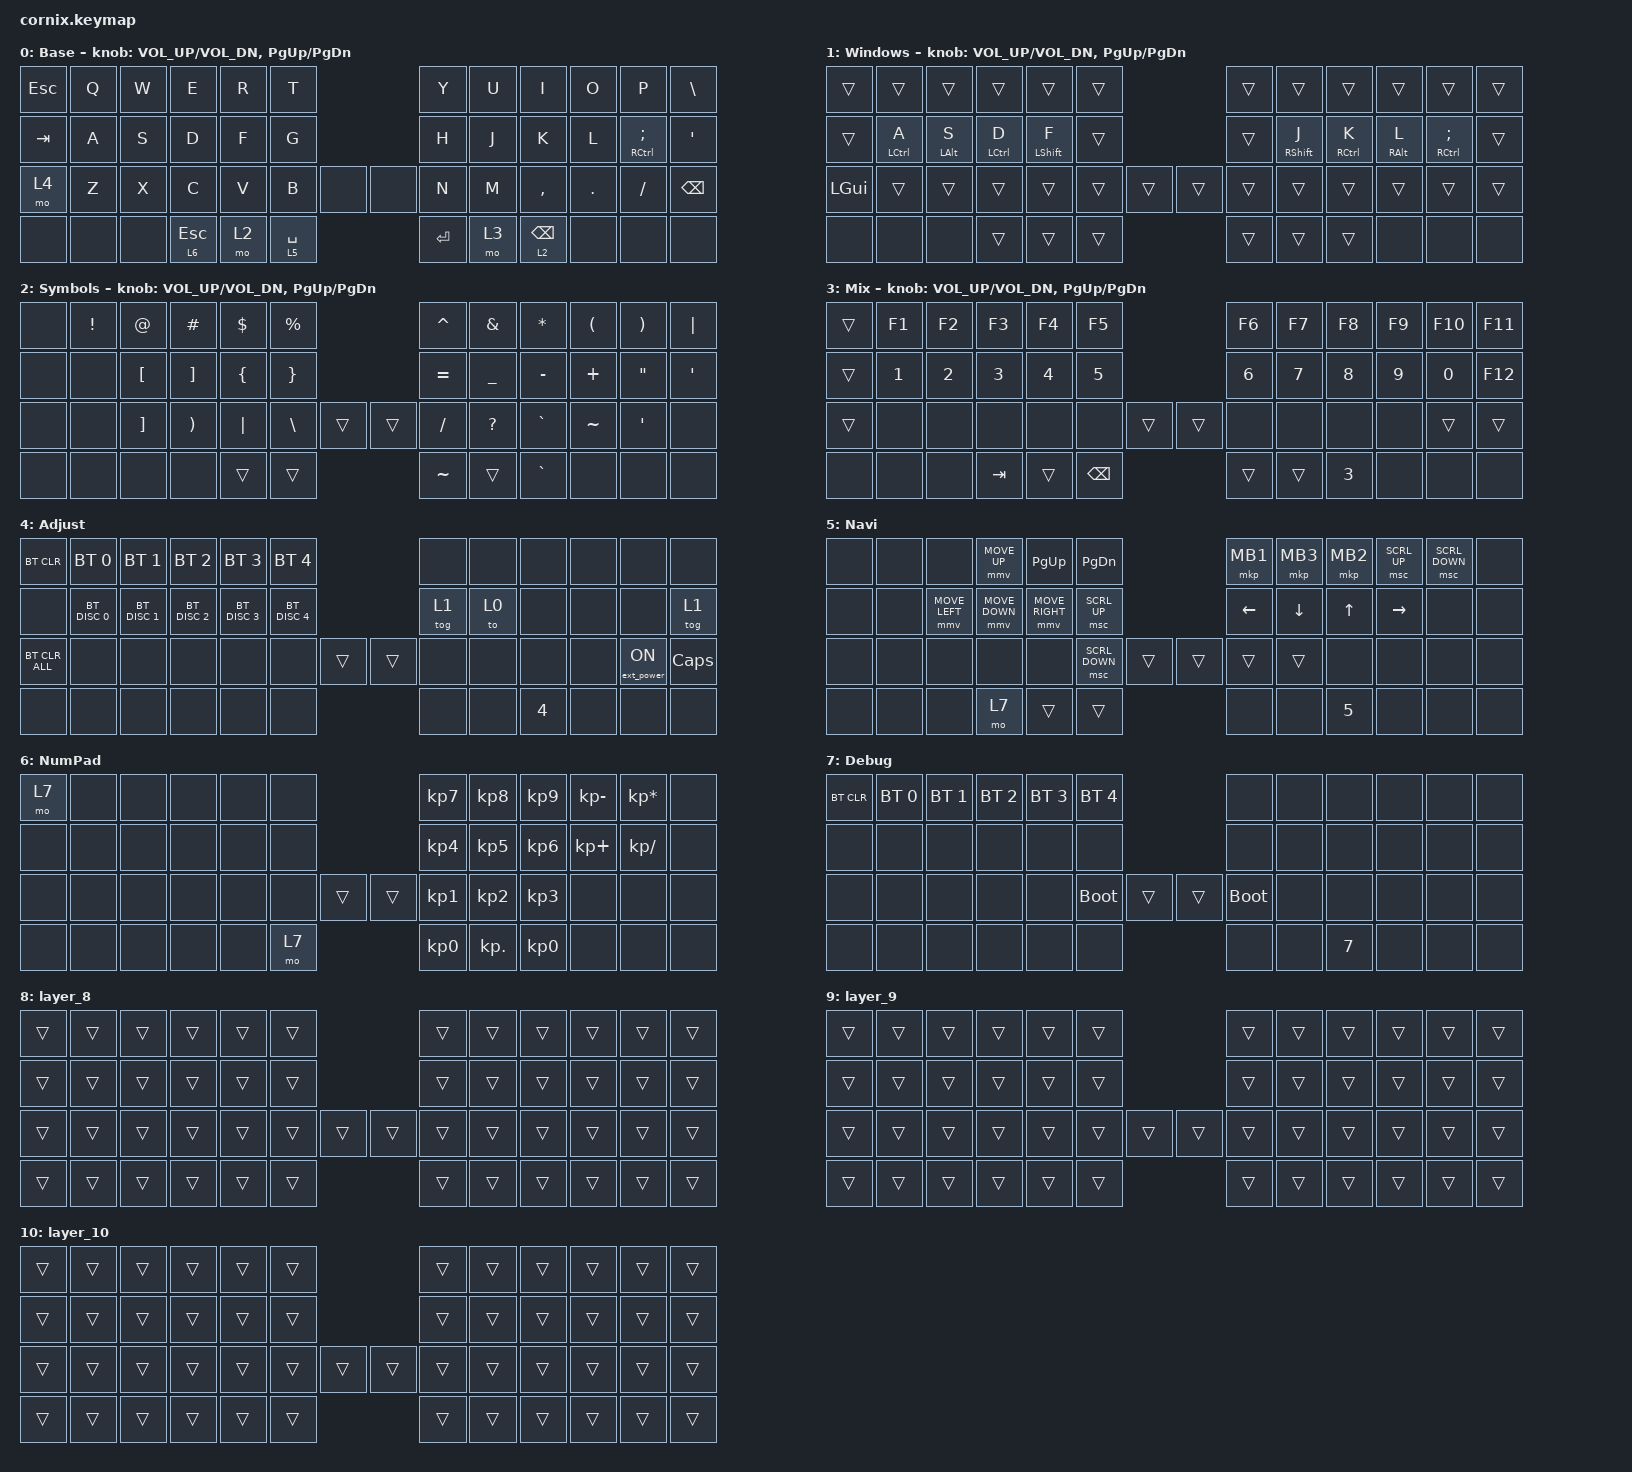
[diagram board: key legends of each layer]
/*
 * Copyright (c) 2020 The ZMK Contributors
 *
 * SPDX-License-Identifier: MIT
 */

#include "zmk-helpers/helper.h"
#include "includes/cornix54.h"

// tap windows for ctl alt and gui

#define HM_TAPPING_TERM 250
#define HM_TAPPING_REPEAT 210

// quick tapping for shift

#define HM_TAPPING_TERM_FAST 200
#define HM_PRIOR_IDLE 70
#define BASE 0
#define WIN 1
#define LOWER 2
#define RAISE 3
#define ADJUST 4
#define NAVI   5
#define NUM    6
#define DEBUG  7

// https://github.com/urob/zmk-config/tree/main#timeless-homerow-mods

#define KEYS_L LT0 LT1 LT2 LT3 LT4 LT5 LM0 LM1 LM2 LM3 LM4 LM5 LB0 LB1 LB2 LB3 LB4 LB5  // left hand
#define KEYS_R RT0 RT1 RT2 RT3 RT4 RT5 RM0 RM1 RM2 RM3 RM4 RM5 RB0 RB1 RB2 RB3 RB4 RB5  // right hand
#define THUMBS LH1 LH0 RH0 RH1
#define KEYS_T LH1 LH0 RH0 RH1
#define ZMK_POINTING_DEFAULT_SCRL_VAL 15

#include <behaviors.dtsi>
#include <dt-bindings/zmk/bt.h>
#include <dt-bindings/zmk/ext_power.h>
#include <dt-bindings/zmk/keys.h>
#include <dt-bindings/zmk/pointing.h>

/ {
    // Activate ADJUST layer by pressing raise and lower

    behaviors {
        hm_l: homerow_mods_left {
            compatible = "zmk,behavior-hold-tap";
            #binding-cells = <2>;
            bindings = <&kp>, <&kp>;

            flavor = "balanced";
            tapping-term-ms = <HM_TAPPING_TERM>;
            quick-tap-ms = <200>;                // repeat on tap-into-hold
            require-prior-idle-ms = <HM_PRIOR_IDLE>;
            hold-trigger-key-positions = <KEYS_R KEYS_T>;
            hold-trigger-on-release;
        };

        hm_r: homerow_mods_right {
            compatible = "zmk,behavior-hold-tap";
            #binding-cells = <2>;
            bindings = <&kp>, <&kp>;

            flavor = "balanced";
            tapping-term-ms = <HM_TAPPING_TERM>;
            quick-tap-ms = <200>;
            require-prior-idle-ms = <HM_PRIOR_IDLE>;
            hold-trigger-key-positions = <KEYS_L KEYS_T>;
            hold-trigger-on-release;
        };

        // Positional Homerow mods for shift
        // Use faster tapping term and disable some features that may
        // cause false negatives.

        hm_shift_l: hm_shift_l {
            compatible = "zmk,behavior-hold-tap";
            #binding-cells = <2>;
            bindings = <&kp>, <&kp>;

            //flavor = "balanced";

            flavor = "balanced";
            tapping-term-ms = <HM_TAPPING_TERM_FAST>;
            quick-tap-ms = <200>;
            require-prior-idle-ms = <HM_PRIOR_IDLE>;
            hold-trigger-key-positions = <KEYS_R KEYS_T>;
            hold-trigger-on-release;
        };

        hm_shift_r: hm_shift_r {
            compatible = "zmk,behavior-hold-tap";
            #binding-cells = <2>;
            bindings = <&kp>, <&kp>;

            flavor = "balanced";
            tapping-term-ms = <HM_TAPPING_TERM_FAST>;
            quick-tap-ms = <200>;
            require-prior-idle-ms = <HM_PRIOR_IDLE>;
            hold-trigger-key-positions = <KEYS_L KEYS_T>;

            // for quick tapping; shift+~

            hold-trigger-on-release;
        };

        /*
         * Non-Positional Homerow Mods
         * Used for &mm_grescm_gui behavior on left hand.
         *
         * Usage: &hm LSHFT T
         * Tap: T
         * Tap-Tap-Hold: Repeat T
         * Hold: LSHIFT
         */

        hm: homerow_mods {
            compatible = "zmk,behavior-hold-tap";
            #binding-cells = <2>;
            bindings = <&kp>, <&kp>;

            flavor = "balanced";
            tapping-term-ms = <HM_TAPPING_TERM>;
            quick-tap-ms = <200>;
        };

        lt: layer_tap {
            compatible = "zmk,behavior-hold-tap";
            #binding-cells = <2>;
            bindings = <&mo>, <&kp>;

            flavor = "hold-preferred";
            tapping-term-ms = <HM_TAPPING_TERM>;
            quick-tap-ms = <200>;
        };
    };

    conditional_layers {
        compatible = "zmk,conditional-layers";

        adjust_layer {
            if-layers = <3 2>;
            then-layer = <4>;
        };
    };

    combos {
        compatible = "zmk,combos";

        cb_kp_esc {
            bindings = <&kp ESC>;
            key-positions = <3 2>;
            layers = <0 1>;
        };

        cb_kp_tab {
            bindings = <&kp TAB>;
            key-positions = <14 16>;
            layers = <0 1>;
        };

        cb_kp_enter {
            bindings = <&kp RET>;
            key-positions = <21 19>;
            layers = <0 1>;
        };

        cb_bs {
            bindings = <&kp K_BACK>;
            key-positions = <8 9>;
        };

        my_combo_keypress_zenhan {
            bindings = <&kp LANGUAGE_5>;
            key-positions = <3 4>;
        };

        my_combo_keypress_brace_l {
            bindings = <&kp LEFT_BRACE>;
            key-positions = <5 17>;
        };

        my_keypress_brace_r {
            bindings = <&kp RIGHT_BRACE>;
            key-positions = <6 18>;
        };

        my_keypress_parenthesis_l {
            bindings = <&kp LEFT_PARENTHESIS>;
            key-positions = <4 16>;
        };

        my_keypress_parenthesis_r {
            bindings = <&kp RIGHT_PARENTHESIS>;
            key-positions = <7 19>;
        };

        my_keypress_lessthan {
            bindings = <&kp LESS_THAN>;
            key-positions = <2 14>;
        };

        my_keypress_greaterthan {
            bindings = <&kp GREATER_THAN>;
            key-positions = <9 21>;
        };

        my_combo_keypress_bracket_l {
            bindings = <&kp LEFT_BRACKET>;
            key-positions = <3 15>;
        };

        my_combo_keypress_bracket_r {
            bindings = <&kp RIGHT_BRACKET>;
            key-positions = <8 20>;
        };

        cb_kp_l-ctrl {
            bindings = <&kp LCTRL>;
            key-positions = <13 14>;
        };

        cb_kp_r-ctrl {
            bindings = <&kp RCTRL>;
            key-positions = <21 22>;
        };

        cb_kp_l-shift {
            bindings = <&kp LEFT_SHIFT>;
            key-positions = <14 15>;
        };

        cb_kp_r-shift {
            bindings = <&kp RIGHT_SHIFT>;
            key-positions = <21 20>;
        };

        cb_kp_l-alt {
            bindings = <&kp LEFT_ALT>;
            key-positions = <15 16>;
        };

        cb_kp_r-alt {
            bindings = <&kp RIGHT_ALT>;
            key-positions = <19 20>;
        };
    };

    macros {
        my_macro_zenhan: my_macro_zenhan {
            compatible = "zmk,behavior-macro";
            #binding-cells = <0>;
            bindings =
                <&macro_press>,
                <&kp LEFT_ALT>,
                <&macro_tap>,
                <&kp GRAVE>,
                <&macro_release>,
                <&kp LEFT_ALT>;

            label = "MY_MACRO_ZENHAN";
        };
    };

    keymap {
        compatible = "zmk,keymap";

        default_layer {
            display-name = "Base";

            // ------------------------------------------------------------------------------------------------------------
            // |   `   |  1  |  2  |  3   |  4   |  5   |                   |  6   |  7    |  8    |  9   |   0   |       |
            // |  ESC  |  Q  |  W  |  E   |  R   |  T   |                   |  Y   |  U    |  I    |  O   |   P   | BKSPC |
            // |  TAB  |  A  |  S  |  D   |  F   |  G   |                   |  H   |  J    |  K    |  L   |   ;   |   '   |
            // | SHIFT |  Z  |  X  |  C   |  V   |  B   |  MUTE  |  |       |  N   |  M    |  ,    |  .   |   /   | SHIFT |
            //               | GUI | ALT  | CTRL | LOWER|  ENTER |  | SPACE | RAISE| CTRL  | ALT   | GUI  |

            bindings = <
&kp ESCAPE  &kp Q  &kp W  &kp E         &kp R  &kp T                      &kp Y      &kp U  &kp I            &kp O    &kp P             &kp BSLH
&kp TAB     &kp A  &kp S  &kp D         &kp F  &kp G                      &kp H      &kp J  &kp K            &kp L    &hm_r RCTRL SEMI  &kp SQT
&mo 4       &kp Z  &kp X  &kp C         &kp V  &kp B        &none  &none  &kp N      &kp M  &kp COMMA        &kp DOT  &kp FSLH          &kp BACKSPACE
&none       &none  &none  &lt 6 ESCAPE  &mo 2  &lt 5 SPACE                &kp ENTER  &mo 3  &lt 2 BACKSPACE  &none    &none             &none
            >;

            sensor-bindings = <&inc_dec_kp C_VOL_UP C_VOL_DN &inc_dec_kp PG_UP PG_DN>;
        };

        win_layer {
            display-name = "Windows";

            // ------------------------------------------------------------------------------------------------------------
            // |   `   |  1  |  2  |  3   |  4   |  5   |                   |  6   |  7    |  8    |  9   |   0   |       |
            // |  ESC  |  Q  |  W  |  E   |  R   |  T   |                   |  Y   |  U    |  I    |  O   |   P   | BKSPC |
            // |  TAB  |  A  |  S  |  D   |  F   |  G   |                   |  H   |  J    |  K    |  L   |   ;   |   '   |
            // | SHIFT |  Z  |  X  |  C   |  V   |  B   |  MUTE  |  |       |  N   |  M    |  ,    |  .   |   /   | SHIFT |
            //               | GUI | ALT  | CTRL | LOWER|  ENTER |  | SPACE | RAISE| CTRL  | ALT   | GUI  |

            bindings = <
&trans    &trans         &trans        &trans         &trans               &trans                  &trans  &trans               &trans         &trans        &trans            &trans
&trans    &hm_l LCTRL A  &hm_l LALT S  &hm_l LCTRL D  &hm_shift_l LSHFT F  &trans                  &trans  &hm_shift_r RSHFT J  &hm_r RCTRL K  &hm_r RALT L  &hm_r RCTRL SEMI  &trans
&kp LGUI  &trans         &trans        &trans         &trans               &trans  &trans  &trans  &trans  &trans               &trans         &trans        &trans            &trans
&none     &none          &none         &trans         &trans               &trans                  &trans  &trans               &trans         &none         &none             &none
            >;

            sensor-bindings = <&inc_dec_kp C_VOL_UP C_VOL_DN &inc_dec_kp PG_UP PG_DN>;
        };

        Symbol_layer {
            display-name = "Symbols";

            // TODO: Some binds are waiting for shifted keycode support.
            // -------------------------------
            // |       |  F1 |  F2 |  F3  |  F4  |  F5  |                   |  F6  |  F7   |  F8   |  F9  |  F10  |  F11  |
            // |   `   |  1  |  2  |  3   |  4   |  5   |                   |  6   |  7    |  8    |  9   |   0   |  F12  |
            // |       |  !  |  @  |  #   |  $   |  %   |                   |  ^   |  &    |  *    |  (   |   )   |   |   |
            // |       |  =  |  -  |  +   |  {   |  }   |        |  |       |  [   |  ]    |  ;    |  :   |   \   |       |
            //               |     |      |      |      |        |  |       |      |       |       |      |

            bindings = <
&none  &kp EXCL  &kp AT    &kp HASH  &kp DLLR  &kp PRCNT                  &kp CARET  &kp AMPS      &kp ASTRK  &kp LPAR   &kp RPAR  &kp PIPE
&none  &none     &kp LBKT  &kp RBKT  &kp LBRC  &kp RBRC                   &kp EQUAL  &kp UNDER     &kp MINUS  &kp PLUS   &kp DQT   &kp SQT
&none  &none     &kp RBKT  &kp RPAR  &kp PIPE  &kp BSLH   &trans  &trans  &kp FSLH   &kp QUESTION  &kp GRAVE  &kp TILDE  &kp SQT   &none
&none  &none     &none     &none     &trans    &trans                     &kp TILDE  &trans        &kp GRAVE  &none      &none     &none
            >;

            sensor-bindings = <&inc_dec_kp C_VOL_UP C_VOL_DN &inc_dec_kp PG_UP PG_DN>;
        };

        Mix_layer {
            display-name = "Mix";

            // ------------------------------------------------------------------------------------------------------------
            // | BTCLR | BT1  | BT2  |  BT3  |  BT4  |  BT5 |                |      |      |       |      |       |       |
            // |       | INS  | PSCR | GUI   |       |      |                | PGUP |      |   ^   |      |       |       |
            // |       | ALT  | CTRL | SHIFT |       | CAPS |                | PGDN |   <- |   v   |  ->  |  DEL  | BKSPC |
            // |       | UNDO | CUT  | COPY  | PASTE |      |      |  |      |      |      |       |      |       |       |
            //                |      |       |       |      |      |  |      |      |      |       |      |

            bindings = <
&trans  &kp F1  &kp F2  &kp F3   &kp F4  &kp F5                         &kp F6  &kp F7  &kp F8  &kp F9  &kp F10  &kp F11
&trans  &kp N1  &kp N2  &kp N3   &kp N4  &kp N5                         &kp N6  &kp N7  &kp N8  &kp N9  &kp N0   &kp F12
&trans  &none   &none   &none    &none   &none          &trans  &trans  &none   &none   &none   &none   &trans   &trans
&none   &none   &none   &kp TAB  &trans  &kp BACKSPACE                  &trans  &trans  &kp N3  &none   &none    &none
            >;

            sensor-bindings = <&inc_dec_kp C_VOL_UP C_VOL_DN &inc_dec_kp PG_UP PG_DN>;
        };

        Adjust_layer {
            display-name = "Adjust";

            // ----------------------------------------------------------------------------------------------------------------------------
            // | BTCLR  |  BT1    |  BT2    |   BT3   |   BT4   |   BT5   |                  |      |      |       |      |       |       |
            // | moDEBUG| RGB_HUD | RGB_HUI | RGB_SAD | RGB_SAI | RGB_EFF |                  |      |      |       |      |       |       |
            // | EXTPWR | RGB_BRD | RGB_BRI |         |         |         |                  |      |      |       |      |       |       |
            // |        |         |         |         |         |         | RGB_TOG | |      |      |      |       |      |       |       |
            //                    |         |         |         |         |         | |      |      |      |       |      |

            bindings = <
&bt BT_CLR      &bt BT_SEL 0   &bt BT_SEL 1   &bt BT_SEL 2   &bt BT_SEL 3   &bt BT_SEL 4                   &none   &none  &none   &none  &none             &none
&none           &bt BT_DISC 0  &bt BT_DISC 1  &bt BT_DISC 2  &bt BT_DISC 3  &bt BT_DISC 4                  &tog 1  &to 0  &none   &none  &none             &tog 1
&bt BT_CLR_ALL  &none          &none          &none          &none          &none          &trans  &trans  &none   &none  &none   &none  &ext_power EP_ON  &kp CAPSLOCK
&none           &none          &none          &none          &none          &none                          &none   &none  &kp N4  &none  &none             &none
            >;
        };

        Navi_layer {
            display-name = "Navi";
            bindings = <
&none  &none  &none           &mmv MOVE_UP    &kp PAGE_UP      &kp PAGE_DOWN                   &mkp MB1  &mkp MB3  &mkp MB2  &msc SCRL_UP  &msc SCRL_DOWN  &none
&none  &none  &mmv MOVE_LEFT  &mmv MOVE_DOWN  &mmv MOVE_RIGHT  &msc SCRL_UP                    &kp LEFT  &kp DOWN  &kp UP    &kp RIGHT     &none           &none
&none  &none  &none           &none           &none            &msc SCRL_DOWN  &trans  &trans  &trans    &trans    &none     &none         &none           &none
&none  &none  &none           &mo 7           &trans           &trans                          &none     &none     &kp N5    &none         &none           &none
            >;
        };

        KeyPad_layer {
            display-name = "NumPad";
            bindings = <
&mo 7  &none  &none  &none  &none  &none                  &kp KP_N7        &kp KP_N8        &kp KP_N9        &kp KP_MINUS  &kp KP_MULTIPLY  &none
&none  &none  &none  &none  &none  &none                  &kp KP_NUMBER_4  &kp KP_NUMBER_5  &kp KP_N6        &kp KP_PLUS   &kp KP_DIVIDE    &none
&none  &none  &none  &none  &none  &none  &trans  &trans  &kp KP_NUMBER_1  &kp KP_NUMBER_2  &kp KP_N3        &none         &none            &none
&none  &none  &none  &none  &none  &mo 7                  &kp KP_N0        &kp KP_DOT       &kp KP_NUMBER_0  &none         &none            &none
            >;
        };

        Debug_layer {
            display-name = "Debug";

            // ----------------------------------------------------------------------------------------------------------------------------
            // | BTCLR  |  BT1    |  BT2    |   BT3   |   BT4   |   BT5   |                  |      |      |       |      |       |       |
            // | EXTPWR | BTCLR | RGB_HUI | RGB_SAD | RGB_SAI | RGB_EFF |                  |      |      |       |      |       |       |
            // |        | RGB_BRD | RGB_BRI |         |         |         |                  |      |      |       |      |       |       |
            // |        |         |         |         |         |         | RGB_TOG | |      |      |      |       |      |       |       |
            //                    |         |         |         |         |         | |      |      |      |       |      |

            bindings = <
&bt BT_CLR  &bt BT_SEL 0  &bt BT_SEL 1  &bt BT_SEL 2  &bt BT_SEL 3  &bt BT_SEL 4                  &none        &none  &none   &none  &none  &none
&none       &none         &none         &none         &none         &none                         &none        &none  &none   &none  &none  &none
&none       &none         &none         &none         &none         &bootloader   &trans  &trans  &bootloader  &none  &none   &none  &none  &none
&none       &none         &none         &none         &none         &none                         &none        &none  &kp N7  &none  &none  &none
            >;
        };

        layer_8 {
            bindings = <
&trans  &trans  &trans  &trans  &trans  &trans                  &trans  &trans  &trans  &trans  &trans  &trans
&trans  &trans  &trans  &trans  &trans  &trans                  &trans  &trans  &trans  &trans  &trans  &trans
&trans  &trans  &trans  &trans  &trans  &trans  &trans  &trans  &trans  &trans  &trans  &trans  &trans  &trans
&trans  &trans  &trans  &trans  &trans  &trans                  &trans  &trans  &trans  &trans  &trans  &trans
            >;
        };

        layer_9 {
            bindings = <
&trans  &trans  &trans  &trans  &trans  &trans                  &trans  &trans  &trans  &trans  &trans  &trans
&trans  &trans  &trans  &trans  &trans  &trans                  &trans  &trans  &trans  &trans  &trans  &trans
&trans  &trans  &trans  &trans  &trans  &trans  &trans  &trans  &trans  &trans  &trans  &trans  &trans  &trans
&trans  &trans  &trans  &trans  &trans  &trans                  &trans  &trans  &trans  &trans  &trans  &trans
            >;
        };

        layer_10 {
            bindings = <
&trans  &trans  &trans  &trans  &trans  &trans                  &trans  &trans  &trans  &trans  &trans  &trans
&trans  &trans  &trans  &trans  &trans  &trans                  &trans  &trans  &trans  &trans  &trans  &trans
&trans  &trans  &trans  &trans  &trans  &trans  &trans  &trans  &trans  &trans  &trans  &trans  &trans  &trans
&trans  &trans  &trans  &trans  &trans  &trans                  &trans  &trans  &trans  &trans  &trans  &trans
            >;
        };
    };
};
